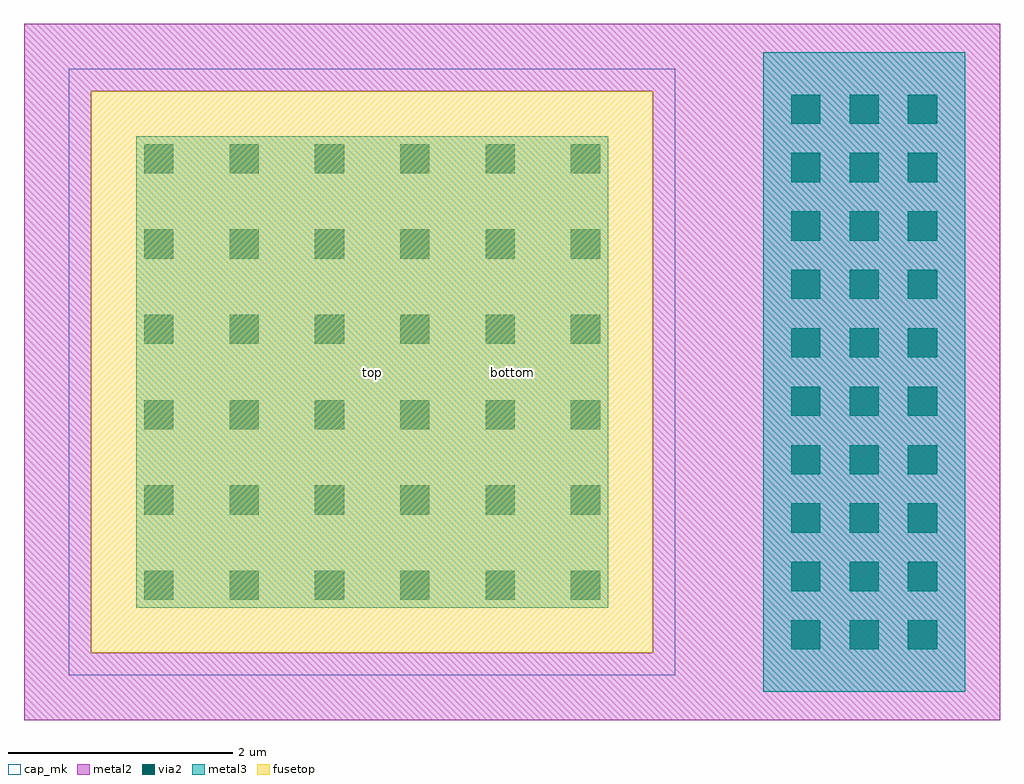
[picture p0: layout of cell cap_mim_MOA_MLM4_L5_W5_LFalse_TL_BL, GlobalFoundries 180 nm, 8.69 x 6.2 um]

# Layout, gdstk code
import gdstk
lib = gdstk.Library(unit=1e-6, precision=1e-09)
def R(c, l, rs):  # rectangles x0, y0, x1, y1
    for r in rs: c.add(gdstk.rectangle(r[:2], r[2:], *l))
metal2 = (36, 0)
via2 = (38, 0)
metal3 = (42, 0)
fusetop = (75, 0)
cap_mk = (117, 5)

rectangle_gdsfactorypcom = lib.new_cell('rectangle_gdsfactorypcomponentspshapesprectangle_S5_5_L_89dead52')
R(rectangle_gdsfactorypcom, fusetop, [(0,0,5,5)])

c_rectangle_gdsfactorypcom = lib.new_cell('rectangle_gdsfactorypcomponentspshapesprectangle_S5p4_5_baa00f42')
R(c_rectangle_gdsfactorypcom, cap_mk, [(0,0,5.4,5.4)])

c_rectangle_gdsfactorypcom_ = lib.new_cell('rectangle_gdsfactorypcomponentspshapesprectangle_S4p2_4_ebef57fa')
R(c_rectangle_gdsfactorypcom_, metal3, [(0,0,4.2,4.2)])

c_rectangle_gdsfactorypcom__ = lib.new_cell('rectangle_gdsfactorypcomponentspshapesprectangle_S1p8_5_e4fb7702')
R(c_rectangle_gdsfactorypcom__, metal3, [(0,0,1.8,5.69)])

c_rectangle_gdsfactorypcom___ = lib.new_cell('rectangle_gdsfactorypcomponentspshapesprectangle_S8p69__b5e29c06')
R(c_rectangle_gdsfactorypcom___, metal2, [(0,0,8.69,0.6)])

c_rectangle_gdsfactorypcom____ = lib.new_cell('rectangle_gdsfactorypcomponentspshapesprectangle_S0p600_596bd9bc')
R(c_rectangle_gdsfactorypcom____, metal2, [(0,0,0.6,5)])

c_rectangle_gdsfactorypcom_____ = lib.new_cell('rectangle_gdsfactorypcomponentspshapesprectangle_S3p09__259a6870')
R(c_rectangle_gdsfactorypcom_____, metal2, [(0,0,3.09,5)])

c_rectangle_gdsfactorypcom______ = lib.new_cell('rectangle_gdsfactorypcomponentspshapesprectangle_S0p26__7b184afd')
R(c_rectangle_gdsfactorypcom______, via2, [(0,0,0.26,0.26)])

cap_mim_moa_mlm4_l5_w5_l = lib.new_cell('cap_mim_MOA_MLM4_L5_W5_LFalse_TL_BL')
cap_mim_moa_mlm4_l5_w5_l.add(gdstk.Reference(rectangle_gdsfactorypcom, (-3.745,-2.5)))
cap_mim_moa_mlm4_l5_w5_l.add(gdstk.Reference(c_rectangle_gdsfactorypcom, (-3.945,-2.7)))
cap_mim_moa_mlm4_l5_w5_l.add(gdstk.Reference(c_rectangle_gdsfactorypcom_, (-3.345,-2.1)))
cap_mim_moa_mlm4_l5_w5_l.add(gdstk.Reference(c_rectangle_gdsfactorypcom__, (2.235,-2.845)))
cap_mim_moa_mlm4_l5_w5_l.add(gdstk.Reference(c_rectangle_gdsfactorypcom___, (-4.345,2.5)))
cap_mim_moa_mlm4_l5_w5_l.add(gdstk.Reference(c_rectangle_gdsfactorypcom___, (-4.345,-3.1)))
cap_mim_moa_mlm4_l5_w5_l.add(gdstk.Reference(c_rectangle_gdsfactorypcom____, (-4.345,-2.5)))
cap_mim_moa_mlm4_l5_w5_l.add(gdstk.Reference(c_rectangle_gdsfactorypcom_____, (1.255,-2.5)))
r = gdstk.Reference(c_rectangle_gdsfactorypcom______, (-3.275,-2.03)); r.repetition = gdstk.Repetition(6, 6, v1=(0.76,0), v2=(0,0.76)); cap_mim_moa_mlm4_l5_w5_l.add(r)
r = gdstk.Reference(c_rectangle_gdsfactorypcom______, (2.485,-2.47)); r.repetition = gdstk.Repetition(3, 10, v1=(0.52,0), v2=(0,0.52)); cap_mim_moa_mlm4_l5_w5_l.add(r)
cap_mim_moa_mlm4_l5_w5_l.add(gdstk.Label('bottom', (0,0), layer=36, texttype=10))
cap_mim_moa_mlm4_l5_w5_l.add(gdstk.Label('top', (-1.245,0), layer=42, texttype=10))

lib.write_gds('cap_mim_MOA_MLM4_L5_W5_LFalse_TL_BL.gds')
